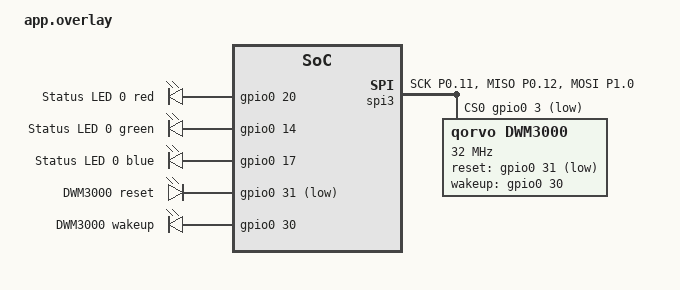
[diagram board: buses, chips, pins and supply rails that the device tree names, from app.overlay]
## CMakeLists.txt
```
cmake_minimum_required(VERSION 3.20.0)

set(IMEC_APP_DIR "${CMAKE_CURRENT_LIST_DIR}/../app")
list(APPEND DTS_ROOT "${IMEC_APP_DIR}")

set(TWR_RANGE_ROLE "initiator" CACHE STRING "DS-TWR range-test role: initiator or responder")
set_property(CACHE TWR_RANGE_ROLE PROPERTY STRINGS initiator responder)

set(TWR_INITIATOR_ID "0x1111222233334444ull" CACHE STRING "DS-TWR initiator device ID")
set(TWR_RESPONDER_ID "0x5555666677778888ull" CACHE STRING "DS-TWR responder device ID")
set(TWR_NETWORK_ID "0x1A2B3C4Du" CACHE STRING "DS-TWR test network ID")
set(TWR_SESSION_ID "0x0000A11Eu" CACHE STRING "DS-TWR test session ID")
set(TWR_SESSION_NONCE "0x1020304050607080ull" CACHE STRING "DS-TWR test session nonce")
set(TWR_REPLY_DELAY_UUS "20000u" CACHE STRING "DS-TWR test delayed-TX reply delay in DW1000/DW3000 UWB microseconds")
set(TWR_RX_AFTER_TX_DELAY_UUS "0u" CACHE STRING "DS-TWR test RX-after-TX delay in DW1000/DW3000 UWB microseconds")
set(TWR_RX_TIMEOUT_UUS "60000u" CACHE STRING "DS-TWR test hardware RX timeout in DW1000/DW3000 UWB microseconds")
set(TWR_RX_TIMEOUT_MS "80u" CACHE STRING "DS-TWR test software RX timeout in milliseconds")
set(TWR_REPLY_TOLERANCE_US "2000u" CACHE STRING "DS-TWR test reply timing tolerance in DW1000/DW3000 UWB microseconds")
set(TWR_DELAY_CALIBRATION "1" CACHE STRING "Encode dynamic DS-TWR reply delay in the UWB round_index field")
set(TWR_REPLY_DELAY_MIN_UUS "500u" CACHE STRING "Minimum DS-TWR calibration reply delay in DW1000/DW3000 UWB microseconds")
set(TWR_REPLY_DELAY_STEP_UUS "250u" CACHE STRING "DS-TWR calibration delay decrement per step in DW1000/DW3000 UWB microseconds")
set(TWR_REPLY_DELAY_INITIAL_STEP_UUS "5000u" CACHE STRING "Initial exponential DS-TWR calibration delay decrement in DW1000/DW3000 UWB microseconds")
set(TWR_REPLY_DELAY_TESTS_PER_STEP "10u" CACHE STRING "Number of range attempts per DS-TWR delay calibration step")
set(TWR_REPLY_DELAY_REQUIRED_SUCCESSES "9u" CACHE STRING "Required successful ranges before lowering DS-TWR reply delay")
set(TWR_RANGE_PERIOD_MS "1000u" CACHE STRING "Delay between initiator range attempts in milliseconds")
set(TWR_LED_FLASH "1" CACHE STRING "Flash board LEDs for range-attempt status")
set(TWR_CAPTURE_RSL "1" CACHE STRING "Capture RSL/CIR diagnostics where the range-test driver supports it")
set(TWR_CLICKER_DIAG "1" CACHE STRING "Send the post-range clicker diagnostic frame")
set(TWR_LOG_EACH_RANGE "1" CACHE STRING "Log every range attempt, not only calibration summaries")
set(TWR_CIA_DIAG_MODE "DW_CIA_DIAG_LOG_ALL" CACHE STRING "DW3000 CIA diagnostic logging mode")
set(TWR_PHY_CHANNEL "5" CACHE STRING "DS-TWR test DW3000 channel")
set(TWR_PHY_PREAMBLE_LENGTH "DWT_PLEN_4096" CACHE STRING "DS-TWR test preamble length")
set(TWR_PHY_RX_PAC "DWT_PAC32" CACHE STRING "DS-TWR test RX preamble acquisition chunk")
set(TWR_PHY_TX_CODE "9" CACHE STRING "DS-TWR test TX preamble code")
set(TWR_PHY_RX_CODE "9" CACHE STRING "DS-TWR test RX preamble code")
set(TWR_PHY_SFD_TYPE "DWT_SFD_DW_8" CACHE STRING "DS-TWR test SFD type")
set(TWR_PHY_DATA_RATE "DWT_BR_850K" CACHE STRING "DS-TWR test data rate")
set(TWR_PHY_SFD_TIMEOUT "4073" CACHE STRING "DS-TWR test SFD timeout in symbols")
set(TWR_TX_PG_DELAY "0x34" CACHE STRING "DS-TWR test TX pulse generator delay")
set(TWR_TX_POWER "0xffffffffu" CACHE STRING "DS-TWR test TX power register value")
set(TWR_TX_ANT_DLY "16385u" CACHE STRING "DS-TWR test TX antenna delay")
set(TWR_RX_ANT_DLY "16385u" CACHE STRING "DS-TWR test RX antenna delay")

if(TWR_RANGE_ROLE STREQUAL "initiator")
    set(TWR_DEVICE_ID "${TWR_INITIATOR_ID}")
elseif(TWR_RANGE_ROLE STREQUAL "responder")
    set(TWR_DEVICE_ID "${TWR_RESPONDER_ID}")
else()
    message(FATAL_ERROR "TWR_RANGE_ROLE must be initiator or responder")
endif()

find_package(Zephyr REQUIRED HINTS $ENV{ZEPHYR_BASE})
project(imec_twr_range_test)
include("${CMAKE_CURRENT_LIST_DIR}/../cmake/dwm3000_sdk.cmake")
imec_resolve_dwm3000_sdk(DWM3000_SDK_DIR)

target_sources(app PRIVATE
    src/main.c
    "${IMEC_APP_DIR}/src/dwm3000_driver.c"
    "${IMEC_APP_DIR}/src/dwm3000_port.c"
    "${IMEC_APP_DIR}/src/dwm3000_sdk_port.c"
    "${DWM3000_SDK_DIR}/decadriver/deca_device.c"
    ../src/debug_log.c
    ../src/protocol.c
    ../src/dwm3000_timing.c
    ../src/uwb.c
    ../src/uwb_session.c
)

target_include_directories(app PRIVATE
    ../include
    "${IMEC_APP_DIR}/src"
    "${DWM3000_SDK_DIR}/decadriver"
)

target_compile_definitions(app PRIVATE
    DEVICE_ID=${TWR_DEVICE_ID}
    TWR_INITIATOR_ID=${TWR_INITIATOR_ID}
    TWR_RESPONDER_ID=${TWR_RESPONDER_ID}
    TWR_NETWORK_ID=${TWR_NETWORK_ID}
    TWR_SESSION_ID=${TWR_SESSION_ID}
    TWR_SESSION_NONCE=${TWR_SESSION_NONCE}
    DWM3000_DS_TWR_REPLY_DLY_UUS=${TWR_REPLY_DELAY_UUS}
    DWM3000_POLL_TX_TO_RESP_RX_DLY_UUS=${TWR_RX_AFTER_TX_DELAY_UUS}
    DWM3000_RESP_TX_TO_FINAL_RX_DLY_UUS=${TWR_RX_AFTER_TX_DELAY_UUS}
    DWM3000_RESP_RX_TIMEOUT_UUS=${TWR_RX_TIMEOUT_UUS}
    DWM3000_FINAL_RX_TIMEOUT_UUS=${TWR_RX_TIMEOUT_UUS}
    DWM3000_REPORT_RX_TIMEOUT_UUS=${TWR_RX_TIMEOUT_UUS}
    DWM3000_RESP_RX_TIMEOUT_MS=${TWR_RX_TIMEOUT_MS}
    DWM3000_FINAL_RX_TIMEOUT_MS=${TWR_RX_TIMEOUT_MS}
    DWM3000_REPORT_RX_TIMEOUT_MS=${TWR_RX_TIMEOUT_MS}
    DWM3000_REPLY_TIMING_TOLERANCE_US=${TWR_REPLY_TOLERANCE_US}
    DWM3000_REPLY_DELAY_FROM_ROUND_INDEX=${TWR_DELAY_CALIBRATION}
    DWM3000_REPLY_DELAY_CALIBRATION_MAX_UUS=${TWR_REPLY_DELAY_UUS}
    DWM3000_REPLY_DELAY_CALIBRATION_MIN_UUS=${TWR_REPLY_DELAY_MIN_UUS}
    DWM3000_REPLY_DELAY_CALIBRATION_STEP_UUS=${TWR_REPLY_DELAY_STEP_UUS}
    DWM3000_CLICKER_DIAG_ENABLED=${TWR_CLICKER_DIAG}
    DWM3000_CIA_DIAG_MODE=${TWR_CIA_DIAG_MODE}
    DWM3000_PHY_CHANNEL=${TWR_PHY_CHANNEL}
    DWM3000_PHY_PREAMBLE_LENGTH=${TWR_PHY_PREAMBLE_LENGTH}
    DWM3000_PHY_RX_PAC=${TWR_PHY_RX_PAC}
    DWM3000_PHY_TX_CODE=${TWR_PHY_TX_CODE}
    DWM3000_PHY_RX_CODE=${TWR_PHY_RX_CODE}
    DWM3000_PHY_SFD_TYPE=${TWR_PHY_SFD_TYPE}
    DWM3000_PHY_DATA_RATE=${TWR_PHY_DATA_RATE}
    DWM3000_PHY_SFD_TIMEOUT=${TWR_PHY_SFD_TIMEOUT}
    DWM3000_TX_PG_DELAY=${TWR_TX_PG_DELAY}
    DWM3000_TX_POWER=${TWR_TX_POWER}
    DWM3000_TX_ANT_DLY=${TWR_TX_ANT_DLY}
    DWM3000_RX_ANT_DLY=${TWR_RX_ANT_DLY}
    TWR_DELAY_CALIBRATION=${TWR_DELAY_CALIBRATION}
    TWR_REPLY_DELAY_CALIBRATION_MAX_UUS=${TWR_REPLY_DELAY_UUS}
    TWR_REPLY_DELAY_CALIBRATION_MIN_UUS=${TWR_REPLY_DELAY_MIN_UUS}
    TWR_REPLY_DELAY_CALIBRATION_STEP_UUS=${TWR_REPLY_DELAY_STEP_UUS}
    TWR_REPLY_DELAY_INITIAL_STEP_UUS=${TWR_REPLY_DELAY_INITIAL_STEP_UUS}
    TWR_REPLY_DELAY_TESTS_PER_STEP=${TWR_REPLY_DELAY_TESTS_PER_STEP}
    TWR_REPLY_DELAY_REQUIRED_SUCCESSES=${TWR_REPLY_DELAY_REQUIRED_SUCCESSES}
    TWR_RANGE_PERIOD_MS=${TWR_RANGE_PERIOD_MS}
    TWR_LED_FLASH=${TWR_LED_FLASH}
    TWR_CAPTURE_RSL=${TWR_CAPTURE_RSL}
    TWR_CLICKER_DIAG=${TWR_CLICKER_DIAG}
    TWR_LOG_EACH_RANGE=${TWR_LOG_EACH_RANGE}
    IMEC_BUILD_PRESET_NAME="twr_range_${TWR_RANGE_ROLE}"
    IMEC_GIT_VERSION="custom"
    IMEC_BUILD_TIMESTAMP="custom"
    IMEC_BOARD_TARGET="${BOARD}"
)

if(TWR_RANGE_ROLE STREQUAL "initiator")
    target_compile_definitions(app PRIVATE TWR_RANGE_INITIATOR=1 DEVICE_ROLE=1)
else()
    target_compile_definitions(app PRIVATE TWR_RANGE_RESPONDER=1 DEVICE_ROLE=2)
endif()
```

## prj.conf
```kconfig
CONFIG_GPIO=y
CONFIG_SPI=y

CONFIG_LOG=y
CONFIG_LOG_DEFAULT_LEVEL=3
CONFIG_LOG_BUFFER_SIZE=4096
CONFIG_LOG_PROCESS_THREAD=y
CONFIG_LOG_PROCESS_THREAD_STACK_SIZE=2048
CONFIG_LOG_MODE_DEFERRED=y
CONFIG_LOG_BACKEND_RTT=y
CONFIG_USE_SEGGER_RTT=y
CONFIG_PRINTK=y

CONFIG_MAIN_STACK_SIZE=4096
CONFIG_ASSERT=y
```

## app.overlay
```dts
#include <zephyr/dt-bindings/gpio/gpio.h>
#include <zephyr/dt-bindings/pinctrl/nrf-pinctrl.h>

/ {
	aliases {
		dwm3000 = &dwm3000;
		dwm3000-reset = &dwm3000_reset;
		dwm3000-wakeup = &dwm3000_wakeup;
		status0-red = &status0_red;
		status0-green = &status0_green;
		status0-blue = &status0_blue;
	};

	status_leds {
		compatible = "gpio-leds";

		status0_red: status0_red {
			gpios = <&gpio0 20 GPIO_ACTIVE_HIGH>;
			label = "Status LED 0 red";
		};

		status0_green: status0_green {
			gpios = <&gpio0 14 GPIO_ACTIVE_HIGH>;
			label = "Status LED 0 green";
		};

		status0_blue: status0_blue {
			gpios = <&gpio0 17 GPIO_ACTIVE_HIGH>;
			label = "Status LED 0 blue";
		};
	};

	dwm3000_control {
		compatible = "gpio-leds";

		dwm3000_reset: dwm3000_reset {
			gpios = <&gpio0 31 GPIO_ACTIVE_LOW>;
			label = "DWM3000 reset";
		};

		dwm3000_wakeup: dwm3000_wakeup {
			gpios = <&gpio0 30 GPIO_ACTIVE_HIGH>;
			label = "DWM3000 wakeup";
		};
	};
};

&pinctrl {
	spi3_default: spi3_default {
		group1 {
			psels = <NRF_PSEL(SPIM_SCK, 0, 11)>,
				<NRF_PSEL(SPIM_MISO, 0, 12)>,
				<NRF_PSEL(SPIM_MOSI, 1, 0)>;
		};
	};

	spi3_sleep: spi3_sleep {
		group1 {
			psels = <NRF_PSEL(SPIM_SCK, 0, 11)>,
				<NRF_PSEL(SPIM_MISO, 0, 12)>,
				<NRF_PSEL(SPIM_MOSI, 1, 0)>;
			low-power-enable;
		};
	};
};

&spi3 {
	compatible = "nordic,nrf-spim";
	status = "okay";
	pinctrl-0 = <&spi3_default>;
	pinctrl-1 = <&spi3_sleep>;
	pinctrl-names = "default", "sleep";
	cs-gpios = <&gpio0 3 GPIO_ACTIVE_LOW>;

	dwm3000: dwm3000@0 {
		compatible = "qorvo,dwm3000";
		reg = <0>;
		spi-max-frequency = <32000000>;
		slow-spi-frequency = <2000000>;
		fast-spi-frequency = <32000000>;
		reset-gpios = <&gpio0 31 GPIO_ACTIVE_LOW>;
		wakeup-gpios = <&gpio0 30 GPIO_ACTIVE_HIGH>;
	};
};
```

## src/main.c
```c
#include "dwm3000_driver.h"
#include "dwm3000_port.h"
#include "uwb_session.h"

#include <zephyr/device.h>
#include <zephyr/devicetree.h>
#include <zephyr/drivers/gpio.h>
#include <zephyr/kernel.h>
#include <zephyr/logging/log.h>
#include <zephyr/sys/util.h>

#include <errno.h>
#include <inttypes.h>
#include <stdbool.h>
#include <stdint.h>
#include <string.h>

LOG_MODULE_REGISTER(twr_range_test, LOG_LEVEL_INF);

#define STATUS_GREEN_NODE DT_ALIAS(status0_green)
#define STATUS_BLUE_NODE DT_ALIAS(status0_blue)
#define STATUS_RED_NODE DT_ALIAS(status0_red)

#ifndef TWR_RANGE_PERIOD_MS
#define TWR_RANGE_PERIOD_MS 1000u
#endif
#ifndef TWR_LED_FLASH
#define TWR_LED_FLASH 1
#endif
#define INITIATOR_TIMEOUT_MS 80u
#define RESPONDER_SLICE_MS 250u
#define RESPONDER_REPORT_PERIOD_MS 5000u
#define RANGE_SEQ 1u
#define RANGE_FLAGS FLAG_DIAGNOSTIC
#ifndef TWR_DELAY_CALIBRATION
#define TWR_DELAY_CALIBRATION 0
#endif
#ifndef TWR_REPLY_DELAY_CALIBRATION_MAX_UUS
#define TWR_REPLY_DELAY_CALIBRATION_MAX_UUS DWM3000_DS_TWR_REPLY_DLY_UUS
#endif
#ifndef TWR_REPLY_DELAY_CALIBRATION_MIN_UUS
#define TWR_REPLY_DELAY_CALIBRATION_MIN_UUS DWM3000_DS_TWR_REPLY_DLY_UUS
#endif
#ifndef TWR_REPLY_DELAY_CALIBRATION_STEP_UUS
#define TWR_REPLY_DELAY_CALIBRATION_STEP_UUS 1u
#endif
#ifndef TWR_REPLY_DELAY_INITIAL_STEP_UUS
#define TWR_REPLY_DELAY_INITIAL_STEP_UUS TWR_REPLY_DELAY_CALIBRATION_STEP_UUS
#endif
#ifndef TWR_REPLY_DELAY_TESTS_PER_STEP
#define TWR_REPLY_DELAY_TESTS_PER_STEP 10u
#endif
#ifndef TWR_REPLY_DELAY_REQUIRED_SUCCESSES
#define TWR_REPLY_DELAY_REQUIRED_SUCCESSES 9u
#endif
#ifndef TWR_CAPTURE_RSL
#define TWR_CAPTURE_RSL 1
#endif
#ifndef TWR_CLICKER_DIAG
#define TWR_CLICKER_DIAG 1
#endif
#ifndef TWR_LOG_EACH_RANGE
#define TWR_LOG_EACH_RANGE 1
#endif

#if TWR_DELAY_CALIBRATION
BUILD_ASSERT(TWR_REPLY_DELAY_CALIBRATION_MAX_UUS >=
	     TWR_REPLY_DELAY_CALIBRATION_MIN_UUS,
	     "Calibration maximum delay must be >= minimum delay");
BUILD_ASSERT(TWR_REPLY_DELAY_CALIBRATION_STEP_UUS > 0u,
	     "Calibration delay step must be nonzero");
BUILD_ASSERT(TWR_REPLY_DELAY_INITIAL_STEP_UUS >= TWR_REPLY_DELAY_CALIBRATION_STEP_UUS,
	     "Initial calibration jump must be at least one calibration step");
BUILD_ASSERT((TWR_REPLY_DELAY_INITIAL_STEP_UUS %
	      TWR_REPLY_DELAY_CALIBRATION_STEP_UUS) == 0u,
	     "Initial calibration jump must align to the calibration step");
BUILD_ASSERT(TWR_REPLY_DELAY_TESTS_PER_STEP > 0u,
	     "Calibration attempts per step must be nonzero");
BUILD_ASSERT(TWR_REPLY_DELAY_REQUIRED_SUCCESSES <= TWR_REPLY_DELAY_TESTS_PER_STEP,
	     "Calibration required successes must fit in the test window");
BUILD_ASSERT(((TWR_REPLY_DELAY_CALIBRATION_MAX_UUS -
	       TWR_REPLY_DELAY_CALIBRATION_MIN_UUS) /
	      TWR_REPLY_DELAY_CALIBRATION_STEP_UUS) <= UINT8_MAX,
	     "Calibration range must fit in round_index");
#endif

static const struct gpio_dt_spec led_green = GPIO_DT_SPEC_GET(STATUS_GREEN_NODE, gpios);
static const struct gpio_dt_spec led_blue = GPIO_DT_SPEC_GET(STATUS_BLUE_NODE, gpios);
static const struct gpio_dt_spec led_red = GPIO_DT_SPEC_GET(STATUS_RED_NODE, gpios);

static void led_set(const struct gpio_dt_spec *led, bool on)
{
	if (gpio_is_ready_dt(led)) {
		(void)gpio_pin_set_dt(led, on ? 1 : 0);
	}
}

static void led_set_rgb(bool red, bool green, bool blue)
{
	led_set(&led_red, red);
	led_set(&led_green, green);
	led_set(&led_blue, blue);
}

static void flash_rgb(bool red, bool green, bool blue, uint32_t ms)
{
#if TWR_LED_FLASH
	led_set_rgb(red, green, blue);
	k_msleep(ms);
	led_set_rgb(false, false, false);
#else
	(void)red;
	(void)green;
	(void)blue;
	(void)ms;
#endif
}

static void configure_leds(void)
{
	if (gpio_is_ready_dt(&led_green)) {
		(void)gpio_pin_configure_dt(&led_green, GPIO_OUTPUT_INACTIVE);
	}
	if (gpio_is_ready_dt(&led_blue)) {
		(void)gpio_pin_configure_dt(&led_blue, GPIO_OUTPUT_INACTIVE);
	}
	if (gpio_is_ready_dt(&led_red)) {
		(void)gpio_pin_configure_dt(&led_red, GPIO_OUTPUT_INACTIVE);
	}
}

#if TWR_LOG_EACH_RANGE
static const char *range_status_name(enum range_status status)
{
	switch (status) {
	case RANGE_OK:
		return "ok";
	case RANGE_RX_TIMEOUT:
		return "rx_timeout";
	case RANGE_RX_ERROR:
		return "rx_error";
	case RANGE_BAD_FRAME:
		return "bad_frame";
	case RANGE_WRONG_TARGET:
		return "wrong_target";
	case RANGE_STS_QUALITY_FAIL:
		return "sts_quality_fail";
	case RANGE_DELAYED_TX_MISSED:
		return "delayed_tx_missed";
	case RANGE_INTERNAL_ERROR:
		return "internal_error";
	case RANGE_TIMING_INVALID:
		return "timing_invalid";
	default:
		return "unknown";
	}
}
#endif

static uint8_t calibration_max_delay_index(void)
{
#if TWR_DELAY_CALIBRATION
	uint32_t span_uus = TWR_REPLY_DELAY_CALIBRATION_MAX_UUS -
			    TWR_REPLY_DELAY_CALIBRATION_MIN_UUS;
	uint32_t max_index = span_uus / TWR_REPLY_DELAY_CALIBRATION_STEP_UUS;

	return max_index > UINT8_MAX ? UINT8_MAX : (uint8_t)max_index;
#else
	return 0u;
#endif
}

static uint16_t reply_delay_uus_from_index(uint8_t delay_index)
{
#if TWR_DELAY_CALIBRATION
	uint32_t max_index = calibration_max_delay_index();
	uint32_t index = MIN((uint32_t)delay_index, max_index);
	uint32_t delay_uus = TWR_REPLY_DELAY_CALIBRATION_MAX_UUS -
			     (index * TWR_REPLY_DELAY_CALIBRATION_STEP_UUS);

	if (delay_uus < TWR_REPLY_DELAY_CALIBRATION_MIN_UUS) {
		delay_uus = TWR_REPLY_DELAY_CALIBRATION_MIN_UUS;
	}
	return (uint16_t)delay_uus;
#else
	ARG_UNUSED(delay_index);
	return DWM3000_DS_TWR_REPLY_DLY_UUS;
#endif
}

#if TWR_DELAY_CALIBRATION && defined(TWR_RANGE_INITIATOR)
static uint16_t calibration_initial_probe_step(void)
{
	uint32_t initial_step = TWR_REPLY_DELAY_INITIAL_STEP_UUS /
				TWR_REPLY_DELAY_CALIBRATION_STEP_UUS;

	if (initial_step == 0u) {
		initial_step = 1u;
	}
	return initial_step > UINT16_MAX ? UINT16_MAX : (uint16_t)initial_step;
}
#endif

static int configure_radio(void)
{
	uint32_t dev_id = 0u;
	int ret;

	ret = dwm3000_port_init();
	if (ret < 0) {
		LOG_ERR("DWM3000 port init failed: %d", ret);
		return ret;
	}

	ret = dwm3000_port_wakeup();
	if (ret < 0) {
		LOG_ERR("DWM3000 wake failed: %d", ret);
		return ret;
	}

	ret = dwm3000_port_hw_reset();
	if (ret < 0) {
		LOG_ERR("DWM3000 reset failed: %d", ret);
		return ret;
	}

	ret = dwm3000_driver_probe(&dev_id);
	if (ret < 0) {
		LOG_ERR("DWM3000 DEV_ID probe failed: %d", ret);
		return ret;
	}
	LOG_INF("DWM3000 DEV_ID OK: 0x%08" PRIx32, dev_id);

	ret = dwm3000_driver_configure_range_mode();
	if (ret < 0) {
		LOG_ERR("DWM3000 range config failed: %d", ret);
		return ret;
	}

	return 0;
}

static void fill_request(struct dwm3000_range_request *request, uint8_t seq)
{
	memset(request, 0, sizeof(*request));
	request->initiator_id = TWR_INITIATOR_ID;
	request->responder_id = TWR_RESPONDER_ID;
	request->network_id = TWR_NETWORK_ID;
	request->session_nonce = TWR_SESSION_NONCE;
	request->responder_short_addr = uwb_session_short_addr_from_id(TWR_RESPONDER_ID);
	request->session_id = TWR_SESSION_ID;
	request->seq = seq;
	request->round_index = 0u;
	request->flags = RANGE_FLAGS;
	request->timeout_ms = INITIATOR_TIMEOUT_MS;
	request->capture_rsl = TWR_CAPTURE_RSL != 0;
}

static void flash_range_failure(enum range_status status, bool exchange_started)
{
	if (status == RANGE_DELAYED_TX_MISSED) {
		flash_rgb(true, true, false, 90u); /* yellow: missed delayed TX slot */
	} else if (exchange_started && status == RANGE_RX_TIMEOUT) {
		flash_rgb(true, false, true, 90u); /* magenta: poll seen, later RX timeout */
	} else if (exchange_started) {
		flash_rgb(false, true, true, 90u); /* cyan: poll seen, non-timeout failure */
	} else {
		flash_rgb(true, false, false, 90u); /* red: no valid exchange started */
	}
}

#if defined(TWR_RANGE_INITIATOR)
#if TWR_DELAY_CALIBRATION
enum calibration_phase {
	CAL_PHASE_EXPONENTIAL = 0,
	CAL_PHASE_BINARY = 1,
	CAL_PHASE_HOLD = 2,
};

static const char *calibration_phase_name(enum calibration_phase phase)
{
	switch (phase) {
	case CAL_PHASE_EXPONENTIAL:
		return "exponential";
	case CAL_PHASE_BINARY:
		return "binary";
	case CAL_PHASE_HOLD:
		return "hold";
	default:
		return "unknown";
	}
}

static uint8_t calibration_midpoint_index(uint8_t reliable_index,
					  uint16_t failed_index)
{
	uint16_t delta = failed_index - reliable_index;
	uint16_t candidate = reliable_index + (delta / 2u);

	if (candidate <= reliable_index && failed_index > (uint16_t)reliable_index + 1u) {
		candidate = (uint16_t)reliable_index + 1u;
	}
	return candidate > UINT8_MAX ? UINT8_MAX : (uint8_t)candidate;
}
#endif

static void run_initiator(void)
{
	uint32_t attempt = 0u;
	uint8_t delay_index = 0u;
	uint32_t step_attempts = 0u;
	uint32_t step_successes = 0u;
	uint16_t best_reliable_delay_uus = 0u;
	uint8_t max_delay_index = calibration_max_delay_index();
#if TWR_DELAY_CALIBRATION
	enum calibration_phase phase = CAL_PHASE_EXPONENTIAL;
	bool have_reliable_delay = false;
	uint8_t best_reliable_index = 0u;
	uint16_t first_failed_index = UINT16_MAX;
	uint16_t probe_step = calibration_initial_probe_step();
	uint32_t step_status_counts[RANGE_TIMING_INVALID + 1u] = {0};
	uint32_t step_exchange_started = 0u;
#endif

	LOG_INF("TWR initiator active: local=0x%016" PRIx64
		" responder=0x%016" PRIx64 " period_ms=%u reply_delay_uus=%u"
		" calibration=%u min_delay_uus=%u step_uus=%u initial_step_uus=%u"
		" tests_per_step=%u required_successes=%u",
		(uint64_t)DEVICE_ID, (uint64_t)TWR_RESPONDER_ID, TWR_RANGE_PERIOD_MS,
		(unsigned int)DWM3000_DS_TWR_REPLY_DLY_UUS,
		(unsigned int)TWR_DELAY_CALIBRATION,
		(unsigned int)TWR_REPLY_DELAY_CALIBRATION_MIN_UUS,
		(unsigned int)TWR_REPLY_DELAY_CALIBRATION_STEP_UUS,
		(unsigned int)TWR_REPLY_DELAY_INITIAL_STEP_UUS,
		(unsigned int)TWR_REPLY_DELAY_TESTS_PER_STEP,
		(unsigned int)TWR_REPLY_DELAY_REQUIRED_SUCCESSES);

	while (true) {
		struct dwm3000_range_request request;
		struct dwm3000_range_result result;
#if TWR_LOG_EACH_RANGE
		int64_t started_ms = k_uptime_get();
#endif
		uint16_t delay_uus = reply_delay_uus_from_index(delay_index);
		bool range_ok;
		int ret;

		fill_request(&request, RANGE_SEQ);
		request.round_index = delay_index;
		memset(&result, 0, sizeof(result));
		result.status = RANGE_RX_TIMEOUT;

		flash_rgb(false, false, true, 20u); /* blue: initiator poll attempt */
		ret = dwm3000_driver_range_initiator(&request, &result);
		range_ok = ret == 0 && result.status == RANGE_OK;
#if TWR_LOG_EACH_RANGE
		if (range_ok) {
			LOG_INF("TWR_RANGE ok=1 attempt=%" PRIu32 " seq=%u distance_mm=%d"
				" quality=%u rsl_dbm=%d elapsed_ms=%lld responder=0x%016" PRIx64
				" delay_uus=%u delay_index=%u",
				attempt, request.seq, result.distance_mm, result.quality,
				(int)result.rsl_dbm, (long long)(k_uptime_get() - started_ms),
				(uint64_t)result.responder_id, (unsigned int)delay_uus,
				(unsigned int)delay_index);
			flash_rgb(false, true, false, 90u); /* green: complete range */
		} else {
			LOG_WRN("TWR_RANGE ok=0 attempt=%" PRIu32 " seq=%u ret=%d"
				" status=%s(%u) quality=%u rsl_dbm=%d"
				" exchange_started=%u responder=0x%016" PRIx64
				" distance_mm=%d elapsed_ms=%lld"
				" delay_uus=%u delay_index=%u",
				attempt, request.seq, ret, range_status_name(result.status),
				(unsigned int)result.status, result.quality,
				(int)result.rsl_dbm, result.exchange_started ? 1u : 0u,
				(uint64_t)result.responder_id, result.distance_mm,
				(long long)(k_uptime_get() - started_ms),
				(unsigned int)delay_uus, (unsigned int)delay_index);
			flash_range_failure(result.status, result.exchange_started);
		}
#else
		if (range_ok) {
			flash_rgb(false, true, false, 20u);
		} else {
			flash_range_failure(result.status, result.exchange_started);
		}
#endif

#if TWR_DELAY_CALIBRATION
		step_attempts++;
		if ((unsigned int)result.status <= RANGE_TIMING_INVALID) {
			step_status_counts[result.status]++;
		}
		if (result.exchange_started) {
			step_exchange_started++;
		}
		if (range_ok) {
			step_successes++;
		}
		if (step_attempts >= TWR_REPLY_DELAY_TESTS_PER_STEP) {
			const char *decision;
			const char *phase_name = calibration_phase_name(phase);
			uint8_t next_delay_index = delay_index;
			bool reliable = step_successes >= TWR_REPLY_DELAY_REQUIRED_SUCCESSES;

			if (reliable) {
				have_reliable_delay = true;
				best_reliable_index = delay_index;
				best_reliable_delay_uus = delay_uus;
				if (phase == CAL_PHASE_HOLD) {
					decision = "hold_verified";
				} else if (delay_index >= max_delay_index) {
					phase = CAL_PHASE_HOLD;
					decision = "hold_min";
				} else if (phase == CAL_PHASE_EXPONENTIAL) {
					uint16_t candidate = (uint16_t)delay_index + probe_step;

					if (candidate > max_delay_index) {
						candidate = max_delay_index;
					}
					next_delay_index = (uint8_t)candidate;
					if (probe_step <= UINT16_MAX / 2u) {
						probe_step *= 2u;
					}
					decision = "exp_lower";
				} else if (first_failed_index <=
					   (uint16_t)best_reliable_index + 1u) {
					phase = CAL_PHASE_HOLD;
					next_delay_index = best_reliable_index;
					decision = "hold_best";
				} else {
					next_delay_index = calibration_midpoint_index(
						best_reliable_index, first_failed_index);
					decision = "binary_lower";
				}
			} else if (phase == CAL_PHASE_EXPONENTIAL) {
				first_failed_index = delay_index;
				probe_step = calibration_initial_probe_step();
				if (!have_reliable_delay) {
					next_delay_index = 0u;
					decision = "retry_max";
				} else if (first_failed_index <=
					   (uint16_t)best_reliable_index + 1u) {
					phase = CAL_PHASE_HOLD;
					next_delay_index = best_reliable_index;
					decision = "hold_best";
				} else {
					phase = CAL_PHASE_BINARY;
					next_delay_index = calibration_midpoint_index(
						best_reliable_index, first_failed_index);
					decision = "binary_start";
				}
			} else if (phase == CAL_PHASE_BINARY) {
				first_failed_index = delay_index;
				if (first_failed_index <= (uint16_t)best_reliable_index + 1u) {
					phase = CAL_PHASE_HOLD;
					next_delay_index = best_reliable_index;
					decision = "hold_best";
				} else {
					next_delay_index = calibration_midpoint_index(
						best_reliable_index, first_failed_index);
					decision = "binary_raise";
				}
			} else if (delay_index > 0u) {
				next_delay_index = delay_index - 1u;
				best_reliable_index = next_delay_index;
				best_reliable_delay_uus =
					reply_delay_uus_from_index(next_delay_index);
				decision = "hold_backoff";
			} else {
				decision = "hold_max";
			}

			LOG_INF("TWR_CAL delay_uus=%u delay_index=%u ok=%u/%u"
				" required_successes=%u phase=%s decision=%s"
				" next_phase=%s next_delay_uus=%u next_delay_index=%u"
				" best_reliable_delay_uus=%u best_reliable_index=%u"
				" first_failed_index=%u probe_step=%u"
				" exchange_started=%u status_ok=%u status_rx_timeout=%u"
				" status_rx_error=%u status_bad_frame=%u"
				" status_wrong_target=%u status_sts_quality=%u"
				" status_delayed_tx_missed=%u status_internal_error=%u"
				" status_timing_invalid=%u",
				(unsigned int)delay_uus, (unsigned int)delay_index,
				(unsigned int)step_successes,
				(unsigned int)step_attempts,
				(unsigned int)TWR_REPLY_DELAY_REQUIRED_SUCCESSES,
				phase_name,
				decision,
				calibration_phase_name(phase),
				(unsigned int)reply_delay_uus_from_index(next_delay_index),
				(unsigned int)next_delay_index,
				(unsigned int)best_reliable_delay_uus,
				(unsigned int)best_reliable_index,
				(unsigned int)first_failed_index,
				(unsigned int)probe_step,
				(unsigned int)step_exchange_started,
				(unsigned int)step_status_counts[RANGE_OK],
				(unsigned int)step_status_counts[RANGE_RX_TIMEOUT],
				(unsigned int)step_status_counts[RANGE_RX_ERROR],
				(unsigned int)step_status_counts[RANGE_BAD_FRAME],
				(unsigned int)step_status_counts[RANGE_WRONG_TARGET],
				(unsigned int)step_status_counts[RANGE_STS_QUALITY_FAIL],
				(unsigned int)step_status_counts[RANGE_DELAYED_TX_MISSED],
				(unsigned int)step_status_counts[RANGE_INTERNAL_ERROR],
				(unsigned int)step_status_counts[RANGE_TIMING_INVALID]);
			delay_index = next_delay_index;
			step_attempts = 0u;
			step_successes = 0u;
			memset(step_status_counts, 0, sizeof(step_status_counts));
			step_exchange_started = 0u;
		}
#endif
		attempt++;
		if (TWR_RANGE_PERIOD_MS > 0u) {
			k_msleep(TWR_RANGE_PERIOD_MS);
		}
	}
}
#endif

#if defined(TWR_RANGE_RESPONDER)
static void run_responder(void)
{
	uint32_t ok_count = 0u;
	uint32_t fail_count = 0u;
	uint32_t timeout_count = 0u;
	uint32_t started_count = 0u;
	int64_t next_report_ms = k_uptime_get() + RESPONDER_REPORT_PERIOD_MS;

	LOG_INF("TWR responder active: local=0x%016" PRIx64
		" initiator=0x%016" PRIx64 " listen_slice_ms=%u reply_delay_uus=%u"
		" calibration=%u min_delay_uus=%u step_uus=%u capture_rsl=%u"
		" clicker_diag=%u log_each_range=%u",
		(uint64_t)DEVICE_ID, (uint64_t)TWR_INITIATOR_ID, RESPONDER_SLICE_MS,
		(unsigned int)DWM3000_DS_TWR_REPLY_DLY_UUS,
		(unsigned int)TWR_DELAY_CALIBRATION,
		(unsigned int)TWR_REPLY_DELAY_CALIBRATION_MIN_UUS,
		(unsigned int)TWR_REPLY_DELAY_CALIBRATION_STEP_UUS,
		(unsigned int)TWR_CAPTURE_RSL,
		(unsigned int)TWR_CLICKER_DIAG,
		(unsigned int)TWR_LOG_EACH_RANGE);

	while (true) {
		struct dwm3000_range_request expected;
		struct dwm3000_range_result result;
		uint16_t delay_uus;
		int ret;

		fill_request(&expected, RANGE_SEQ);
		expected.timeout_ms = RESPONDER_SLICE_MS;
		memset(&result, 0, sizeof(result));
		result.status = RANGE_RX_TIMEOUT;

		ret = dwm3000_driver_responder_poll_expected(DEVICE_ID,
							     &expected,
							     RESPONDER_SLICE_MS,
							     &result);
		delay_uus = reply_delay_uus_from_index(result.round_index);
		if (ret == 0 && result.status == RANGE_OK) {
			ok_count++;
			started_count++;
#if TWR_LOG_EACH_RANGE
			LOG_INF("TWR_RESPONDER ok=1 count=%" PRIu32 " seq=%u"
				" distance_mm=%d quality=%u rsl_dbm=%d"
				" exchange_started=%u initiator=0x%016" PRIx64
				" delay_uus=%u delay_index=%u",
				ok_count, result.seq, result.distance_mm, result.quality,
				(int)result.rsl_dbm, result.exchange_started ? 1u : 0u,
				(uint64_t)result.initiator_id, (unsigned int)delay_uus,
				(unsigned int)result.round_index);
#endif
			flash_rgb(false, true, false, 90u); /* green: complete range */
		} else if (result.exchange_started) {
			fail_count++;
			started_count++;
#if TWR_LOG_EACH_RANGE
			LOG_WRN("TWR_RESPONDER ok=0 count=%" PRIu32 " ret=%d status=%s(%u)"
				" exchange_started=%u seq=%u initiator=0x%016" PRIx64
				" responder=0x%016" PRIx64 " distance_mm=%d"
				" quality=%u rsl_dbm=%d delay_uus=%u delay_index=%u",
				fail_count, ret, range_status_name(result.status),
				(unsigned int)result.status,
				result.exchange_started ? 1u : 0u, result.seq,
				(uint64_t)result.initiator_id, (uint64_t)result.responder_id,
				result.distance_mm, result.quality, (int)result.rsl_dbm,
				(unsigned int)delay_uus, (unsigned int)result.round_index);
#endif
			flash_range_failure(result.status, true);
		} else if (ret == -ETIMEDOUT) {
			timeout_count++;
		} else if (ret != -ETIMEDOUT) {
			fail_count++;
#if TWR_LOG_EACH_RANGE
			LOG_WRN("TWR_RESPONDER ok=0 count=%" PRIu32 " ret=%d status=%s(%u)"
				" exchange_started=%u seq=%u initiator=0x%016" PRIx64
				" responder=0x%016" PRIx64 " distance_mm=%d"
				" quality=%u rsl_dbm=%d",
				fail_count, ret, range_status_name(result.status),
				(unsigned int)result.status,
				result.exchange_started ? 1u : 0u, result.seq,
				(uint64_t)result.initiator_id, (uint64_t)result.responder_id,
				result.distance_mm, result.quality, (int)result.rsl_dbm);
#endif
			flash_range_failure(result.status, false);
		}

		if (k_uptime_get() >= next_report_ms) {
			LOG_INF("TWR_RESPONDER_IDLE ok_count=%" PRIu32
				" fail_count=%" PRIu32 " timeout_count=%" PRIu32
				" exchange_started_count=%" PRIu32
				" waiting_for=0x%016" PRIx64,
				ok_count, fail_count, timeout_count, started_count,
				(uint64_t)TWR_INITIATOR_ID);
			if (started_count == 0u) {
				flash_rgb(true, true, true, 25u); /* white: alive, idle/listening */
			}
			next_report_ms = k_uptime_get() + RESPONDER_REPORT_PERIOD_MS;
		}
	}
}
#endif

int main(void)
{
	int ret;

	configure_leds();
	LOG_INF("IMEC DS-TWR range test boot");

	ret = configure_radio();
	if (ret < 0) {
		LOG_ERR("radio setup failed: %d", ret);
		led_set(&led_red, true);
		return 0;
	}
	flash_rgb(true, true, true, 80u); /* white: boot and DWM3000 init OK */

#if defined(TWR_RANGE_INITIATOR)
	run_initiator();
#elif defined(TWR_RANGE_RESPONDER)
	run_responder();
#else
#error "Build must define TWR_RANGE_INITIATOR or TWR_RANGE_RESPONDER"
#endif

	return 0;
}
```
